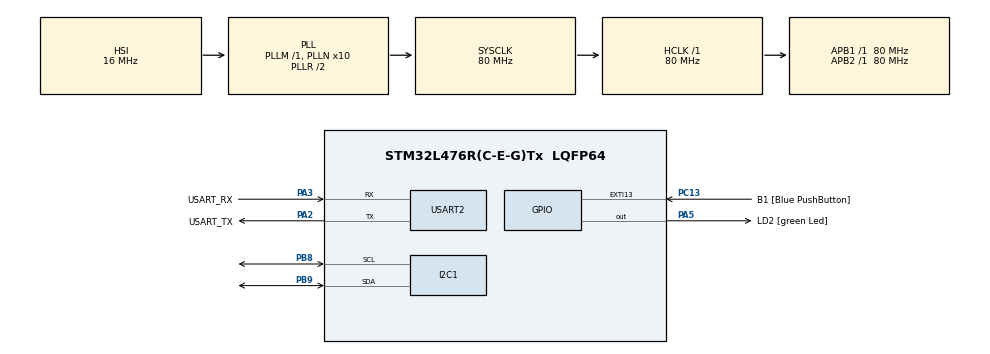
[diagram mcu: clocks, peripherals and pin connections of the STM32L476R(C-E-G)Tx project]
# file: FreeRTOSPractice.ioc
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FREERTOS.Tasks01=Blink01,8,128,StartBlink01,Default,NULL,Dynamic,NULL,NULL;Blink02,8,128,StartBlink02,Default,NULL,Dynamic,NULL,NULL;I2CRead,40,128,StartI2CRead,Default,NULL,Dynamic,NULL,NULL
FREERTOS.configUSE_NEWLIB_REENTRANT=1
I2C1.Timing=0x10D19CE4
Mcu.Family=STM32L4
Mcu.Name=STM32L476R(C-E-G)Tx
Mcu.Package=LQFP64
NVIC.PriorityGroup=NVIC_PRIORITYGROUP_4
NVIC.TIM6_DAC_IRQn=true\:15\:0\:false\:false\:true\:false\:false\:true\:true
NVIC.TimeBase=TIM6_DAC_IRQn
NVIC.TimeBaseIP=TIM6
PA13\ (JTMS-SWDIO).GPIO_Label=TMS
PA13\ (JTMS-SWDIO).Mode=Serial_Wire
PA13\ (JTMS-SWDIO).Signal=SYS_JTMS-SWDIO
PA14\ (JTCK-SWCLK).GPIO_Label=TCK
PA14\ (JTCK-SWCLK).Mode=Serial_Wire
PA14\ (JTCK-SWCLK).Signal=SYS_JTCK-SWCLK
PA2.GPIO_Label=USART_TX
PA2.GPIO_Mode=GPIO_MODE_AF_PP
PA2.GPIO_PuPd=GPIO_NOPULL
PA2.GPIO_Speed=GPIO_SPEED_FREQ_VERY_HIGH
PA2.Mode=Asynchronous
PA2.Signal=USART2_TX
PA3.GPIO_Label=USART_RX
PA3.GPIO_Mode=GPIO_MODE_AF_PP
PA3.GPIO_PuPd=GPIO_NOPULL
PA3.GPIO_Speed=GPIO_SPEED_FREQ_VERY_HIGH
PA3.Mode=Asynchronous
PA3.Signal=USART2_RX
PA5.GPIO_Label=LD2 [green Led]
PA5.GPIO_ModeDefaultOutputPP=GPIO_MODE_OUTPUT_PP
PA5.GPIO_PuPd=GPIO_NOPULL
PA5.GPIO_Speed=GPIO_SPEED_FREQ_LOW
PA5.Signal=GPIO_Output
PB3\ (JTDO-TRACESWO).GPIO_Label=SWO
PB3\ (JTDO-TRACESWO).Signal=SYS_JTDO-SWO
PB8.Mode=I2C
PB8.Signal=I2C1_SCL
PB9.Mode=I2C
PB9.Signal=I2C1_SDA
PC13.GPIO_Label=B1 [Blue PushButton]
PC13.GPIO_ModeDefaultEXTI=GPIO_MODE_IT_FALLING
PC13.GPIO_PuPd=GPIO_NOPULL
PC13.Signal=GPXTI13
PC14-OSC32_IN\ (PC14).Mode=LSE-External-Oscillator
PC14-OSC32_IN\ (PC14).Signal=RCC_OSC32_IN
PC15-OSC32_OUT\ (PC15).Mode=LSE-External-Oscillator
PC15-OSC32_OUT\ (PC15).Signal=RCC_OSC32_OUT
PH0-OSC_IN\ (PH0).Signal=RCC_OSC_IN
PH1-OSC_OUT\ (PH1).Signal=RCC_OSC_OUT
ProjectManager.HeapSize=0x200
ProjectManager.StackSize=0x400
ProjectManager.TargetToolchain=STM32CubeIDE
RCC.ADCFreq_Value=64000000
RCC.AHBFreq_Value=80000000
RCC.APB1Freq_Value=80000000
RCC.APB1TimFreq_Value=80000000
RCC.APB2Freq_Value=80000000
RCC.APB2TimFreq_Value=80000000
RCC.CortexFreq_Value=80000000
RCC.HCLKFreq_Value=80000000
RCC.HSE_VALUE=8000000
RCC.HSI_VALUE=16000000
RCC.MSI_VALUE=4000000
RCC.PLLN=10
RCC.PLLSourceVirtual=RCC_PLLSOURCE_HSI
RCC.PREFETCH_ENABLE=1
RCC.SYSCLKFreq_VALUE=80000000
RCC.SYSCLKSource=RCC_SYSCLKSOURCE_PLLCLK
RCC.USBFreq_Value=64000000
RCC.VCOOutputFreq_Value=160000000
USART2.VirtualMode-Asynchronous=VM_ASYNC
VP_FREERTOS_VS_CMSIS_V2.Mode=CMSIS_V2
VP_SYS_VS_tim6.Mode=TIM6
board=NUCLEO-L476RG

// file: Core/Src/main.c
/* USER CODE BEGIN Header */
/**
  ******************************************************************************
  * @file           : main.c
  * @brief          : Main program body
  ******************************************************************************
  * @attention
  *
  * Copyright (c) 2025 STMicroelectronics.
  * All rights reserved.
  *
  * This software is licensed under terms that can be found in the LICENSE file
  * in the root directory of this software component.
  * If no LICENSE file comes with this software, it is provided AS-IS.
  *
  ******************************************************************************
  */
/* USER CODE END Header */
#include "main.h"
#include "cmsis_os.h"

/* USER CODE BEGIN Includes */
#include <string.h>
#include <stdlib.h>
#include <stdio.h>
#include "FreeRTOS.h"
#include "queue.h"
/* USER CODE END Includes */

I2C_HandleTypeDef hi2c1;

UART_HandleTypeDef huart2;

/* Definitions for Blink01 */
osThreadId_t Blink01Handle;
const osThreadAttr_t Blink01_attributes = {
  .name = "Blink01",
  .stack_size = 128 * 4,
  .priority = (osPriority_t) osPriorityLow,
};
/* Definitions for Blink02 */
osThreadId_t Blink02Handle;
const osThreadAttr_t Blink02_attributes = {
  .name = "Blink02",
  .stack_size = 128 * 4,
  .priority = (osPriority_t) osPriorityLow,
};
/* Definitions for I2CRead */
osThreadId_t I2CReadHandle;
const osThreadAttr_t I2CRead_attributes = {
  .name = "I2CRead",
  .stack_size = 512 * 4,
  .priority = (osPriority_t) osPriorityHigh,
};
/* USER CODE BEGIN PV */
static const uint8_t MMC_ADDR = 0x30 << 1; // 8 bit address
static const uint8_t ODR = 0x1A;
static const uint8_t internalC0 = 0x1B;
static const uint8_t internalC2 = 0x1D;
static const int i2c_delay = 500;
double x_offset = 0;
double y_offset = 0;
double z_offset = 0;
double vec[3];
double *ve;
typedef struct {
	uint8_t bytes[9];
} MagVector_t;

//FreeRTOS Queue Declaration
QueueHandle_t xQueue1;
/* USER CODE END PV */

void SystemClock_Config(void);
static void MX_GPIO_Init(void);
static void MX_USART2_UART_Init(void);
static void MX_I2C1_Init(void);
void StartBlink01(void *argument);
void StartBlink02(void *argument);
void StartI2CRead(void *argument);
/* USER CODE BEGIN PFP */
double convert_to_20bit_double(uint32_t val) {
	int32_t new = (int32_t)val - 524288;
	return (double)new * 0.00625;
}

void set_magnetometer() {
	HAL_StatusTypeDef ret;
	uint8_t set[2] = {internalC0, 0x08};
	uint8_t continuous_rate[2] = {ODR, 0x1C};
	uint8_t Cmm_freq_en[2] = {internalC0, 0x80};
	uint8_t Cmm_en[2] = {internalC2, 0x10};
	uint8_t buf[50];

	ret = HAL_I2C_Master_Transmit(&hi2c1, MMC_ADDR, set, 2, i2c_delay);

	      if (ret != HAL_OK) {
	    	  strcpy((char*)buf, "Error setting mmc\r\n");
	      } else

	      {
	    	  strcpy((char*)buf, "mmc set\r\n");
	    	  HAL_Delay(10);

	    	  //set the measurement rate of the sensor
	    	  ret = HAL_I2C_Master_Transmit(&hi2c1, MMC_ADDR, continuous_rate, 2, i2c_delay);
	    	  if ( ret != HAL_OK ) {
	    		  strcpy((char*)buf, "Error setting continuous mode\n");
	    	  } else

	    	  {
	    		  strcpy((char*)buf, "Continuous mode set\n");

	    		  ret = HAL_I2C_Master_Transmit(&hi2c1, MMC_ADDR, Cmm_freq_en, 2, i2c_delay);
	    		  if ( ret != HAL_OK ) {
	    			  strcpy((char*)buf, "Error setting Cmm_freq_en\n");
	    		  } else {
	    			  strcpy((char*)buf, "CMM_freq_en set\n");
	    			  ret = HAL_I2C_Master_Transmit(&hi2c1, MMC_ADDR, Cmm_en, 2, i2c_delay);
	    			  if ( ret != HAL_OK ) {
	    				  strcpy((char*)buf, "Error setting Cmm_en\n");
	    			  } else {
	    				  strcpy((char*)buf, "Cmm_en set\n");
	    			  }
	    		  }
	    	  }
	      }

}

void read_magnetometer(uint8_t *pos) {
	HAL_StatusTypeDef ret;
	uint8_t out = 0x00;
	char bufc[20];
	ret = HAL_I2C_Mem_Read(&hi2c1, MMC_ADDR, out, I2C_MEMADD_SIZE_8BIT, pos, 9, 500);

	if (ret == HAL_OK)
	  {
		return;

	  } else
	  {
		  strcpy((char*)bufc, "Error Read\r\n");
		  HAL_UART_Transmit(&huart2, (uint8_t*)bufc, strlen(bufc), i2c_delay);
	  }
}

void raw_to_real(uint8_t *pos, double *out) {
	uint32_t raw_xvec;
	uint32_t raw_yvec;
	uint32_t raw_zvec;

	raw_xvec = ((uint32_t)pos[0] << 12) | ((uint32_t)pos[1] << 4) | ((pos[6] >> 4));
	raw_yvec = ((uint32_t)pos[2] << 12) | ((uint32_t)pos[3] << 4) | ((pos[7] >> 4));
	raw_zvec = ((uint32_t)pos[4] << 12) | ((uint32_t)pos[5] << 4) | ((pos[8] >> 4));

	out[0] = convert_to_20bit_double(raw_xvec) - x_offset;
	out[1] = convert_to_20bit_double(raw_yvec) - y_offset;
	out[2] = convert_to_20bit_double(raw_zvec) - z_offset;
}

void display_vectors(double *vector)
{
	char buf[100];
	snprintf(buf, sizeof(buf), "X = %0.2f, Y = %.2f, Z = %.2f\r\n", vector[0], vector[1], vector[2]);
	HAL_UART_Transmit(&huart2, (uint8_t*)buf, strlen(buf), i2c_delay);
}

void calibrate_sensor_offset()
{
	uint8_t raw_vec[3];
	double temp_vec[3];
	set_magnetometer();
	read_magnetometer(raw_vec);
	raw_to_real(raw_vec, temp_vec);
	double max_x = temp_vec[0];
	double max_y = temp_vec[1];
	double max_z = temp_vec[2];
	double min_x = temp_vec[0];
	double min_y = temp_vec[1];
	double min_z = temp_vec[2];

	// Polling for max and min values
	for (int i = 0; i < 200; i ++) {
		read_magnetometer(raw_vec);
		raw_to_real(raw_vec, temp_vec);
		if (temp_vec[0] > max_x) {
			max_x = temp_vec[0];
		} else if (temp_vec[0] < min_x){
			min_x = temp_vec[0];
		}
		if (temp_vec[1] > max_y) {
					max_y = temp_vec[1];
		} else if (temp_vec[1] < min_y){
			min_y = temp_vec[1];
		}
		if (temp_vec[2] > max_z) {
			max_z = temp_vec[2];
		} else if (temp_vec[2] < min_z){
			min_z = temp_vec[2];
		}
		HAL_Delay(10);
	}

	// calculating offsets
		x_offset = (min_x + max_x)/2;
		y_offset = (min_y + max_y)/2;
		z_offset = (min_z + max_z)/2;
		// snprintf(buf, sizeof(buf), "offsetx: %0.2f, offsety: %0.2f, offsetz: %0.2f", x_offset, y_offset, z_offset);
		//HAL_UART_Transmit(&huart2, (uint8_t*)buf, strlen(buf), HAL_MAX_DELAY);
}

/* USER CODE END PFP */

int main(void)
{

  /* MCU Configuration--------------------------------------------------------*/

  /* Reset of all peripherals, Initializes the Flash interface and the Systick. */
  HAL_Init();

  /* Configure the system clock */
  SystemClock_Config();

  /* Initialize all configured peripherals */
  MX_GPIO_Init();
  MX_USART2_UART_Init();
  MX_I2C1_Init();
  /* USER CODE BEGIN 2 */
  set_magnetometer();
  calibrate_sensor_offset();

  /* USER CODE END 2 */

  /* Init scheduler */
  osKernelInitialize();

  /* USER CODE BEGIN RTOS_QUEUES */
  /* add queues, ... */
  xQueue1 = xQueueCreate(3, 3*sizeof(MagVector_t));
  /* USER CODE END RTOS_QUEUES */

  /* Create the thread(s) */
  /* creation of Blink01 */
  Blink01Handle = osThreadNew(StartBlink01, NULL, &Blink01_attributes);

  /* creation of Blink02 */
  //Blink02Handle = osThreadNew(StartBlink02, NULL, &Blink02_attributes);

  /* creation of I2CRead */
  I2CReadHandle = osThreadNew(StartI2CRead, NULL, &I2CRead_attributes);

  /* Start scheduler */
  osKernelStart();

  /* We should never get here as control is now taken by the scheduler */

  /* Infinite loop */
  while (1)
  {

  }
}

void SystemClock_Config(void)
{
  RCC_OscInitTypeDef RCC_OscInitStruct = {0};
  RCC_ClkInitTypeDef RCC_ClkInitStruct = {0};

  /** Configure the main internal regulator output voltage
  */
  if (HAL_PWREx_ControlVoltageScaling(PWR_REGULATOR_VOLTAGE_SCALE1) != HAL_OK)
  {
    Error_Handler();
  }

  /** Initializes the RCC Oscillators according to the specified parameters
  * in the RCC_OscInitTypeDef structure.
  */
  RCC_OscInitStruct.OscillatorType = RCC_OSCILLATORTYPE_HSI;
  RCC_OscInitStruct.HSIState = RCC_HSI_ON;
  RCC_OscInitStruct.HSICalibrationValue = RCC_HSICALIBRATION_DEFAULT;
  RCC_OscInitStruct.PLL.PLLState = RCC_PLL_ON;
  RCC_OscInitStruct.PLL.PLLSource = RCC_PLLSOURCE_HSI;
  RCC_OscInitStruct.PLL.PLLM = 1;
  RCC_OscInitStruct.PLL.PLLN = 10;
  RCC_OscInitStruct.PLL.PLLP = RCC_PLLP_DIV7;
  RCC_OscInitStruct.PLL.PLLQ = RCC_PLLQ_DIV2;
  RCC_OscInitStruct.PLL.PLLR = RCC_PLLR_DIV2;
  if (HAL_RCC_OscConfig(&RCC_OscInitStruct) != HAL_OK)
  {
    Error_Handler();
  }

  /** Initializes the CPU, AHB and APB buses clocks
  */
  RCC_ClkInitStruct.ClockType = RCC_CLOCKTYPE_HCLK|RCC_CLOCKTYPE_SYSCLK
                              |RCC_CLOCKTYPE_PCLK1|RCC_CLOCKTYPE_PCLK2;
  RCC_ClkInitStruct.SYSCLKSource = RCC_SYSCLKSOURCE_PLLCLK;
  RCC_ClkInitStruct.AHBCLKDivider = RCC_SYSCLK_DIV1;
  RCC_ClkInitStruct.APB1CLKDivider = RCC_HCLK_DIV1;
  RCC_ClkInitStruct.APB2CLKDivider = RCC_HCLK_DIV1;

  if (HAL_RCC_ClockConfig(&RCC_ClkInitStruct, FLASH_LATENCY_4) != HAL_OK)
  {
    Error_Handler();
  }
}

static void MX_I2C1_Init(void)
{

  hi2c1.Instance = I2C1;
  hi2c1.Init.Timing = 0x10D19CE4;
  hi2c1.Init.OwnAddress1 = 0;
  hi2c1.Init.AddressingMode = I2C_ADDRESSINGMODE_7BIT;
  hi2c1.Init.DualAddressMode = I2C_DUALADDRESS_DISABLE;
  hi2c1.Init.OwnAddress2 = 0;
  hi2c1.Init.OwnAddress2Masks = I2C_OA2_NOMASK;
  hi2c1.Init.GeneralCallMode = I2C_GENERALCALL_DISABLE;
  hi2c1.Init.NoStretchMode = I2C_NOSTRETCH_DISABLE;
  if (HAL_I2C_Init(&hi2c1) != HAL_OK)
  {
    Error_Handler();
  }

  /** Configure Analogue filter
  */
  if (HAL_I2CEx_ConfigAnalogFilter(&hi2c1, I2C_ANALOGFILTER_ENABLE) != HAL_OK)
  {
    Error_Handler();
  }

  /** Configure Digital filter
  */
  if (HAL_I2CEx_ConfigDigitalFilter(&hi2c1, 0) != HAL_OK)
  {
    Error_Handler();
  }

}

static void MX_USART2_UART_Init(void)
{

  huart2.Instance = USART2;
  huart2.Init.BaudRate = 115200;
  huart2.Init.WordLength = UART_WORDLENGTH_8B;
  huart2.Init.StopBits = UART_STOPBITS_1;
  huart2.Init.Parity = UART_PARITY_NONE;
  huart2.Init.Mode = UART_MODE_TX_RX;
  huart2.Init.HwFlowCtl = UART_HWCONTROL_NONE;
  huart2.Init.OverSampling = UART_OVERSAMPLING_16;
  huart2.Init.OneBitSampling = UART_ONE_BIT_SAMPLE_DISABLE;
  huart2.AdvancedInit.AdvFeatureInit = UART_ADVFEATURE_NO_INIT;
  if (HAL_UART_Init(&huart2) != HAL_OK)
  {
    Error_Handler();
  }

}

static void MX_GPIO_Init(void)
{
  GPIO_InitTypeDef GPIO_InitStruct = {0};

  /* GPIO Ports Clock Enable */
  __HAL_RCC_GPIOC_CLK_ENABLE();
  __HAL_RCC_GPIOH_CLK_ENABLE();
  __HAL_RCC_GPIOA_CLK_ENABLE();
  __HAL_RCC_GPIOB_CLK_ENABLE();

  /*Configure GPIO pin Output Level */
  HAL_GPIO_WritePin(LD2_GPIO_Port, LD2_Pin, GPIO_PIN_RESET);

  /*Configure GPIO pin : B1_Pin */
  GPIO_InitStruct.Pin = B1_Pin;
  GPIO_InitStruct.Mode = GPIO_MODE_IT_FALLING;
  GPIO_InitStruct.Pull = GPIO_NOPULL;
  HAL_GPIO_Init(B1_GPIO_Port, &GPIO_InitStruct);

  /*Configure GPIO pin : LD2_Pin */
  GPIO_InitStruct.Pin = LD2_Pin;
  GPIO_InitStruct.Mode = GPIO_MODE_OUTPUT_PP;
  GPIO_InitStruct.Pull = GPIO_NOPULL;
  GPIO_InitStruct.Speed = GPIO_SPEED_FREQ_LOW;
  HAL_GPIO_Init(LD2_GPIO_Port, &GPIO_InitStruct);

}

void StartBlink01(void *argument)
{
  /* USER CODE BEGIN 5 */
  /* Infinite loop */
  for(;;)
  {
	HAL_GPIO_TogglePin(GPIOA, GPIO_PIN_5);
    osDelay(500);
  }
  osThreadTerminate(NULL);
  /* USER CODE END 5 */
}

void StartBlink02(void *argument)
{
  /* USER CODE BEGIN StartBlink02 */
  /* Infinite loop */
  for(;;)
  {
	HAL_GPIO_TogglePin(GPIOA, GPIO_PIN_5);
    osDelay(200);
  }
  osThreadTerminate(NULL);
  /* USER CODE END StartBlink02 */
}

void StartI2CRead(void *argument)
{
  /* USER CODE BEGIN StartI2CRead */

	double position[3];
  /* Infinite loop */
  for(;;)
  {
	  MagVector_t vec;
	  read_magnetometer(vec.bytes);
	  xQueueSend(xQueue1, &vec, 0);
	  // HAL_UART_Transmit(&huart2, (uint8_t*)"UART ready\r\n", 12, HAL_MAX_DELAY);

    osDelay(200);
  }
  /* USER CODE END StartI2CRead */
}

void HAL_TIM_PeriodElapsedCallback(TIM_HandleTypeDef *htim)
{
  if (htim->Instance == TIM6)
  {
    HAL_IncTick();
  }
}

void Error_Handler(void)
{
  __disable_irq();
  while (1)
  {
  }
}
